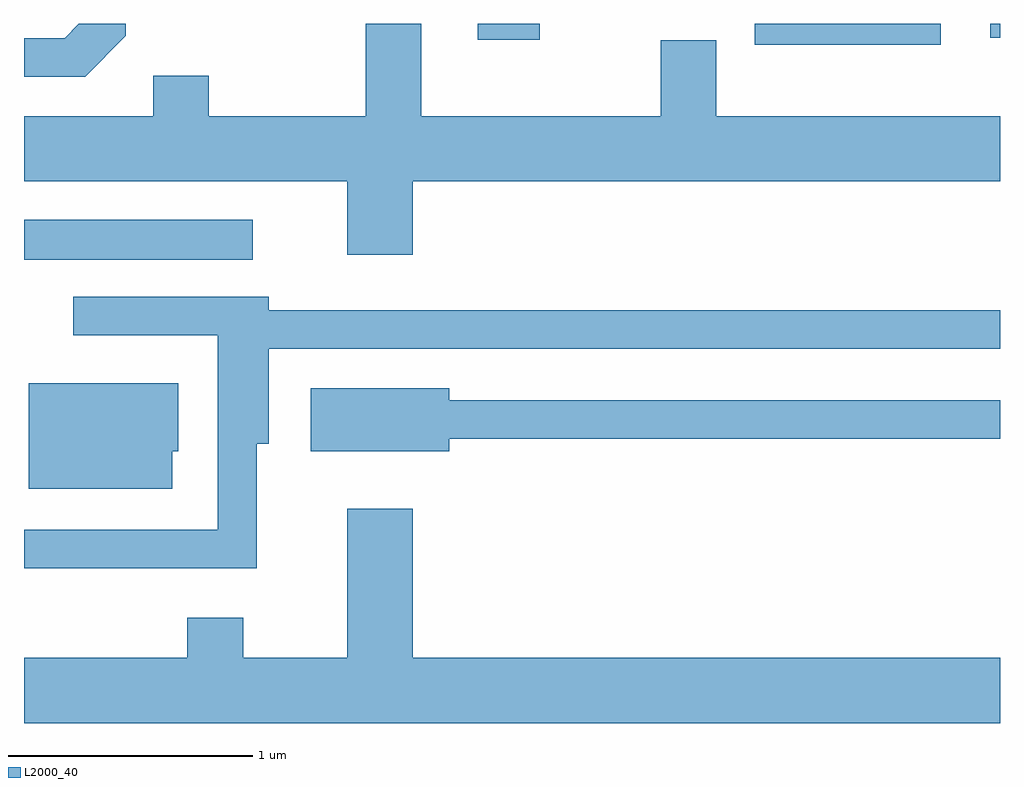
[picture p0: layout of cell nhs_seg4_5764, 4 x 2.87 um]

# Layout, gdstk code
import gdstk
lib = gdstk.Library(unit=1e-6, precision=1e-09)
def R(c, l, rs):  # rectangles x0, y0, x1, y1
    for r in rs: c.add(gdstk.rectangle(r[:2], r[2:], *l))
def P(c, l, *ps):  # polygons
    for p in ps: c.add(gdstk.Polygon(p, *l))
L2000_40 = (2000, 40)

nhs_seg4_5764 = lib.new_cell('nhs_seg4_5764')
R(nhs_seg4_5764, L2000_40, [(353.611,1361.016,354.548,1361.179), (356.606,1361.896,357.369,1361.982), (355.471,1361.916,355.724,1361.982), (357.571,1361.926,357.611,1361.982)])
P(nhs_seg4_5764, L2000_40, [(355.204,1361.336),(357.611,1361.336),(357.611,1361.604),(356.449,1361.604),(356.449,1361.914),(356.221,1361.914),(356.221,1361.604),(355.239,1361.604),(355.239,1361.982),(355.011,1361.982),(355.011,1361.604),(354.369,1361.604),(354.369,1361.769),(354.141,1361.769),(354.141,1361.604),(353.611,1361.604),(353.611,1361.336),(354.936,1361.336),(354.936,1361.036),(355.204,1361.036)],
  [(354.029,1361.934),(354.029,1361.982),(353.836,1361.982),(353.779,1361.924),(353.611,1361.924),(353.611,1361.766),(353.862,1361.766)],
  [(354.564,1360.261),(354.614,1360.261),(354.614,1360.651),(357.611,1360.651),(357.611,1360.809),(354.614,1360.809),(354.614,1360.864),(353.813,1360.864),(353.813,1360.706),(354.406,1360.706),(354.406,1359.909),(353.611,1359.909),(353.611,1359.751),(354.564,1359.751)],
  [(354.219,1360.231),(354.244,1360.231),(354.244,1360.509),(353.631,1360.509),(353.631,1360.076),(354.219,1360.076)],
  [(355.354,1360.281),(357.611,1360.281),(357.611,1360.439),(355.354,1360.439),(355.354,1360.489),(354.786,1360.489),(354.786,1360.231),(355.354,1360.231)],
  [(357.611,1359.384),(355.204,1359.384),(355.204,1359.994),(354.936,1359.994),(354.936,1359.384),(354.509,1359.384),(354.509,1359.549),(354.281,1359.549),(354.281,1359.384),(353.611,1359.384),(353.611,1359.116),(357.611,1359.116)])

lib.write_gds('nhs_seg4_5764.gds')
